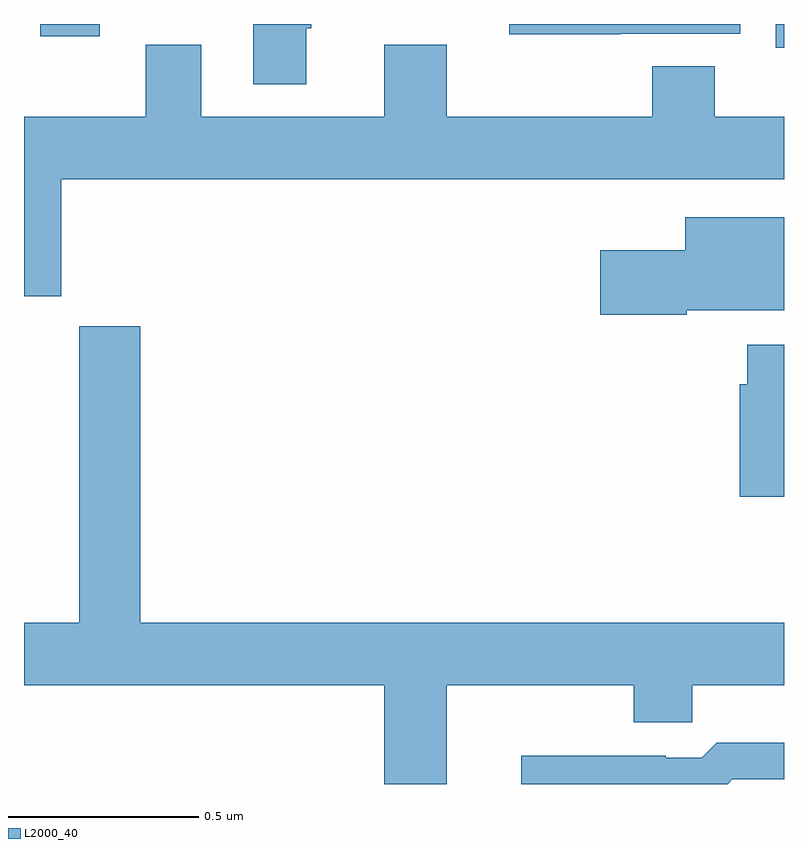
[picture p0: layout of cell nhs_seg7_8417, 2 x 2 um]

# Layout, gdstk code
import gdstk
lib = gdstk.Library(unit=1e-6, precision=1e-09)
def R(c, l, rs):  # rectangles x0, y0, x1, y1
    for r in rs: c.add(gdstk.rectangle(r[:2], r[2:], *l))
def P(c, l, *ps):  # polygons
    for p in ps: c.add(gdstk.Polygon(p, *l))
L2000_40 = (2000, 40)

nhs_seg7_8417 = lib.new_cell('nhs_seg7_8417')
R(nhs_seg7_8417, L2000_40, [(225.978,1024.938,226,1025), (224.043,1024.968,224.199,1025)])
P(nhs_seg7_8417, L2000_40, [(224.743,1024.989),(224.756,1024.989),(224.756,1025),(224.603,1025),(224.603,1024.842),(224.743,1024.842)],
  [(225.569,1024.974),(225.885,1024.974),(225.885,1025),(225.277,1025),(225.277,1024.973),(225.569,1024.973)],
  [(224.098,1024.592),(226,1024.592),(226,1024.756),(225.818,1024.756),(225.818,1024.889),(225.653,1024.889),(225.653,1024.756),(225.112,1024.756),(225.112,1024.945),(224.948,1024.945),(224.948,1024.756),(224.467,1024.756),(224.467,1024.946),(224.32,1024.946),(224.32,1024.756),(224,1024.756),(224,1024.283),(224.098,1024.283)],
  [(225.744,1024.247),(226,1024.247),(226,1024.492),(225.74,1024.492),(225.74,1024.405),(225.516,1024.405),(225.516,1024.235),(225.744,1024.235)],
  [(225.112,1023.26),(225.604,1023.26),(225.604,1023.162),(225.759,1023.162),(225.759,1023.26),(226,1023.26),(226,1023.424),(224.306,1023.424),(224.306,1024.204),(224.146,1024.204),(224.146,1023.424),(224,1023.424),(224,1023.26),(224.948,1023.26),(224.948,1023),(225.112,1023)],
  [(226,1024.156),(225.903,1024.156),(225.903,1024.052),(225.883,1024.052),(225.883,1023.756),(226,1023.756)],
  [(225.864,1023.012),(226,1023.012),(226,1023.109),(225.823,1023.109),(225.783,1023.069),(225.689,1023.069),(225.689,1023.074),(225.309,1023.074),(225.309,1023),(225.852,1023)])

lib.write_gds('nhs_seg7_8417.gds')
